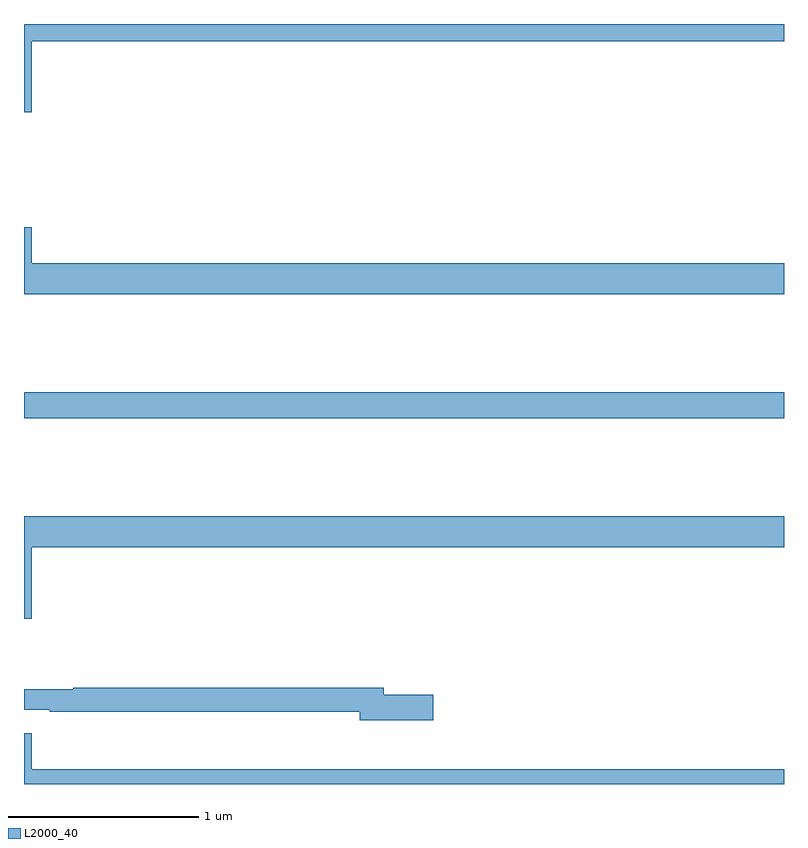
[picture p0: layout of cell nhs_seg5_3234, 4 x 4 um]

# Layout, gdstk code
import gdstk
lib = gdstk.Library(unit=1e-6, precision=1e-09)
def R(c, l, rs):  # rectangles x0, y0, x1, y1
    for r in rs: c.add(gdstk.rectangle(r[:2], r[2:], *l))
def P(c, l, *ps):  # polygons
    for p in ps: c.add(gdstk.Polygon(p, *l))
L2000_40 = (2000, 40)

nhs_seg5_3234 = lib.new_cell('nhs_seg5_3234')
R(nhs_seg5_3234, L2000_40, [(297,906.724,301,906.86)])
P(nhs_seg5_3234, L2000_40, [(297.04,908.708),(301,908.708),(301,908.799),(297,908.799),(297,908.334),(297.04,908.334)],
  [(301,907.54),(297.04,907.54),(297.04,907.729),(297,907.729),(297,907.376),(301,907.376)],
  [(297.04,906.044),(301,906.044),(301,906.208),(297,906.208),(297,905.67),(297.04,905.67)],
  [(299.155,905.27),(298.894,905.27),(298.894,905.306),(297.26,905.306),(297.26,905.299),(297,905.299),(297,905.19),(297.136,905.19),(297.136,905.178),(298.766,905.178),(298.766,905.135),(299.155,905.135)],
  [(301,904.876),(297.04,904.876),(297.04,905.065),(297,905.065),(297,904.799),(301,904.799)])

lib.write_gds('nhs_seg5_3234.gds')
